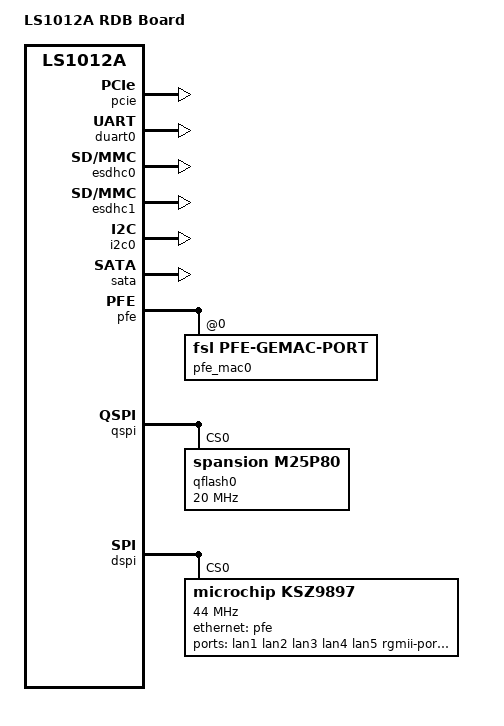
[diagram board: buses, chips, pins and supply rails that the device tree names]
// SPDX-License-Identifier: (GPL-2.0+ OR MIT)
/*
 * Device Tree file for Freescale LS1012A RDB Board.
 *
 * Copyright 2016 Freescale Semiconductor, Inc.
 *
 */
/dts-v1/;

#include "fsl-ls1012a.dtsi"

/ {
	model = "LS1012A RDB Board";
	compatible = "fsl,ls1012a-rdb", "fsl,ls1012a";

	aliases {
		ethernet0 = &pfe_mac0;
	};
};

&pcie {
	status = "okay";
};

&duart0 {
	status = "okay";
};

&esdhc0 {
	sd-uhs-sdr104;
	sd-uhs-sdr50;
	sd-uhs-sdr25;
	sd-uhs-sdr12;
	status = "okay";
};

&esdhc1 {
	mmc-hs200-1_8v;
	status = "okay";
};

&i2c0 {
	status = "okay";
};

&sata {
	status = "okay";
};

&pfe {
	status = "okay";
	#address-cells = <1>;
	#size-cells = <0>;

	pfe_mac0: ethernet@0 {
		compatible = "fsl,pfe-gemac-port";
		#address-cells = <1>;
		#size-cells = <0>;
		reg = <0x0>;    /* GEM_ID */
		fsl,mdio-mux-val = <0x0>;
		phy-mode = "sgmii";
		fixed-link {
			speed=<1000>;
			full-duplex;
		};
	};
};

&qspi {
	status = "okay";
	qflash0: s25fs512s@0 {
		compatible = "spansion,m25p80";
		#address-cells = <1>;
		#size-cells = <1>;
		spi-max-frequency = <20000000>;
		m25p,fast-read;
		reg = <0>;
		spi-rx-bus-width = <2>;
		spi-tx-bus-width = <2>;
	};

};

&dspi {
	status="okay";
	id = <1>;
	bus-num = <1>;
	ksz9897@0 {
		status="okay";
		compatible = "microchip,ksz9897";
		reg = <0>;
		vcc-supply = < 0x06 >;
		spi-max-frequency = <44000000>;
		spi-cpha;
		spi-cpol;
		big-endian;

		ports {
			#address-cells = <1>;
			#size-cells = <0>;
			swport1:port@0 {
				reg = <0>;
				label = "lan1";
				//local-mac-address = [38 B7 4D 00 74 C1];
			};
			port@1 {
				reg = <1>;
				label = "lan2";
				//local-mac-address = [38 B7 4D 00 74 C2];
			};
			port@2 {
				reg = <2>;
				label = "lan3";
				//local-mac-address = [38 B7 4D 00 74 C3];
			};
			port@3 {
				reg = <3>;
				label = "lan4";
				//local-mac-address = [38 B7 4D 00 74 C4];
			};
			port@4 {
				reg = <4>;
				label = "lan5";
				//local-mac-address = [38 B7 4D 00 74 C5];
			};
			port@5 {
				reg = <5>;
				label = "rgmii-port";
				//local-mac-address = [38 B7 4D 00 74 C6];
			};
			port@6 {
				reg = <6>;
				label = "cpu";
				ethernet=<&pfe>;
				phy-mode = "sgmii";
				fixed-link {
					speed=<1000>;
					full-duplex;
				};
			};
		};
	};
};
